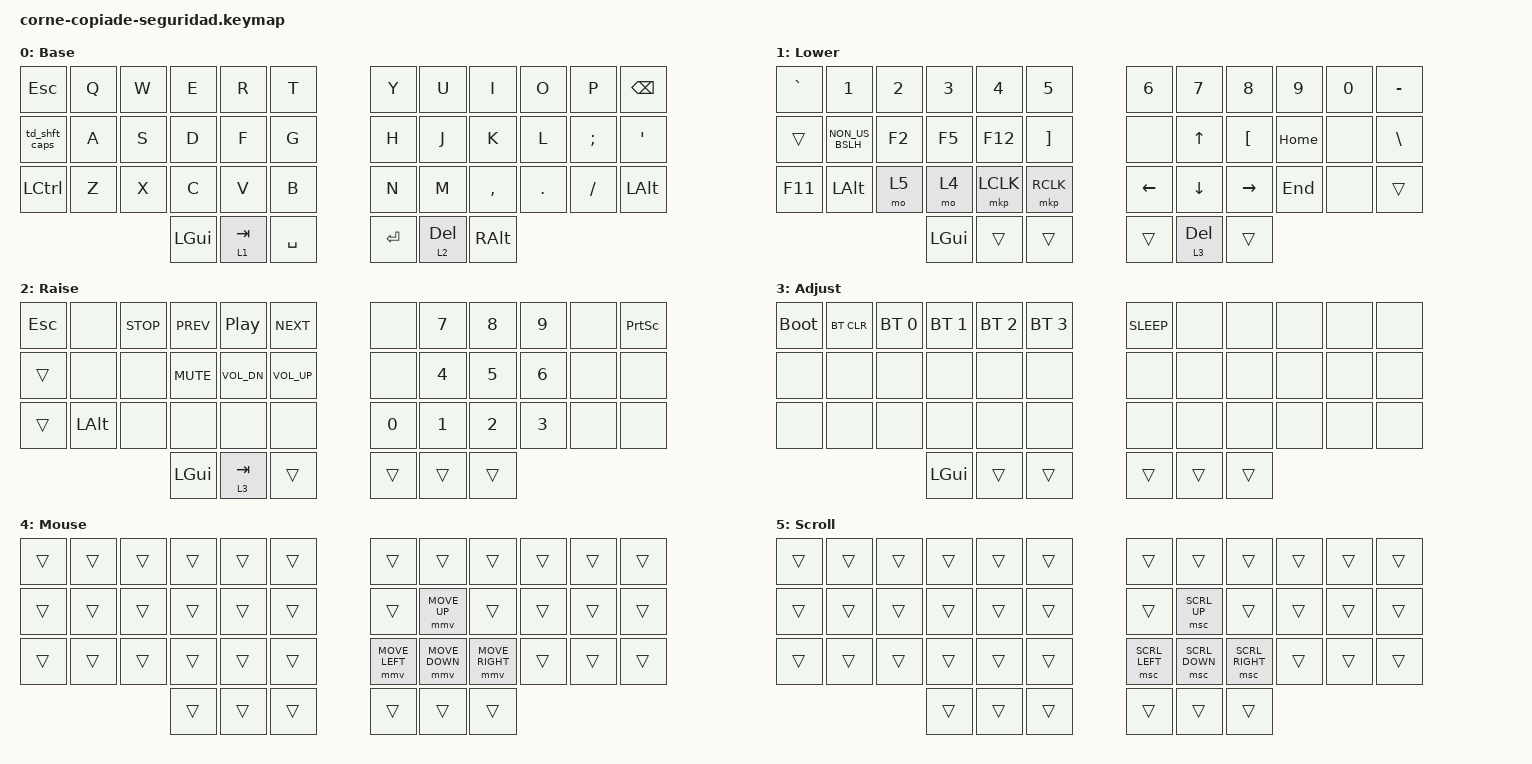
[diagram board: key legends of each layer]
/*
 * Copyright (c) 2020 The ZMK Contributors
 *
 * SPDX-License-Identifier: MIT
 */

#include <behaviors.dtsi>
#include <dt-bindings/zmk/keys.h>
#include <dt-bindings/zmk/bt.h>
#include <dt-bindings/zmk/pointing.h>

/ {
    behaviors {
        // Tap Dance: 1 toque = Shift Izq, 2 toques = Bloq Mayus
        td_shft_caps: tap_dance_shift_caps {
            compatible = "zmk,behavior-tap-dance";
            #binding-cells = <0>;
            tapping-term-ms = <200>;
            bindings = <&kp LSHFT>, <&kp CAPSLOCK>;
        };
        
        // Configuración de movimiento del Mouse (Aceleración)
        mmv {
            acceleration-exponent = <1>;
            time-to-max-speed-ms = <300>;
            delay-ms = <0>;
        };

        // Configuración de Scroll
        msc {
            acceleration-exponent = <0>;
            time-to-max-speed-ms = <0>;
            delay-ms = <0>;
        };
    };

    combos {
        compatible = "zmk,combos";
        
        // COMBO: ESC + E = Format Code (Shift + Alt + F)
        // Se presionan las dos teclas centrales de la fila superior (Índices).
        combo_vscode_format {
            timeout-ms = <50>;
            key-positions = <0 3>; // Posiciones de ESC y E en Corne (0 y 3)
            bindings = <&kp LS(LA(F))>;
        };
    };

    keymap {
        compatible = "zmk,keymap";

        default_layer {
            display-name = "Base";
// -----------------------------------------------------------------------------------------
// |  ESC |  Q  |  W  |  E  |  R  |  T  |   |  Y  |  U   |  I  |  O  |  P  | BSPC |
// | SHFT*|  A  |  S  |  D  |  F  |  G  |   |  H  |  J   |  K  |  L  |  ;  |  '   |
// | CTRL |  Z  |  X  |  C  |  V  |  B  |   |  N  |  M   |  ,  |  .  |  /  | ALT  |
//                    | GUI | LWR | SPC |   | ENT | RSE  | ALT |
            bindings = <
   &kp ESC       &kp Q &kp W &kp E &kp R &kp T   &kp Y &kp U  &kp I     &kp O   &kp P    &kp BSPC
   &td_shft_caps &kp A &kp S &kp D &kp F &kp G   &kp H &kp J  &kp K     &kp L   &kp SEMI &kp SQT
   &kp LCTRL     &kp Z &kp X &kp C &kp V &kp B   &kp N &kp M  &kp COMMA &kp DOT &kp FSLH &kp LALT
                 &kp LGUI &lt 1 TAB &kp SPACE    &kp RET &lt 2 DEL &kp RALT
            >;
        };

        lower_layer {
            display-name = "Lower";
// -----------------------------------------------------------------------------------------
// |  `   |  1  |  2  |  3  |  4  |  5  |   |  6  |  7  |  8  |  9  |  0  |  -   |
// | TRNS | NUBS| F2  | F5  | F12 |  ]  |   | NONE|  UP  |  [  | HOME| NONE|  \   |
// | F11  | ALT | SCRL|MOUSE| LCLK| RCLK|   | LFT | DWN  | RGT | END | NONE| TRNS |
//                    | GUI | TRNS| TRNS|   | TRNS| ADJ  | TRNS|
            bindings = <
   &kp GRAVE  &kp N1      &kp N2 &kp N3 &kp N4 &kp N5      &kp N6   &kp N7   &kp N8    &kp N9    &kp N0 &kp MINUS
   &trans     &kp NON_US_BSLH &kp F2 &kp F5 &kp F12 &kp RBKT    &none    &kp UP   &kp LBKT  &kp HOME  &none  &kp BSLH
   &kp F11    &kp LALT    &mo 5  &mo 4  &mkp LCLK &mkp RCLK  &kp LEFT &kp DOWN &kp RIGHT &kp END   &none  &trans
                          &kp LGUI &trans &trans           &trans   &lt 3 DEL &trans
            >;
        };

        raise_layer {
            display-name = "Raise";
// -----------------------------------------------------------------------------------------
// | ESC  | NONE| STOP| PREV| PLAY| NEXT|   | NONE|  7  |  8  |  9  | NONE| PSCRN|
// | TRNS | NONE| NONE| MUTE| VDN | VUP |   | NONE|  4  |  5  |  6  | NONE| NONE |
// | TRNS | ALT | NONE| NONE| NONE| NONE|   |  0  |  1  |  2  |  3  | NONE| NONE |
//                    | GUI | ADJ | TRNS|   | TRNS| TRNS| TRNS|
            bindings = <
   &kp ESC &none    &kp C_STOP &kp C_PREV &kp C_PP     &kp C_NEXT      &none  &kp N7 &kp N8 &kp N9 &none &kp PSCRN
   &trans  &none    &none      &kp C_MUTE &kp C_VOL_DN &kp C_VOL_UP    &none  &kp N4 &kp N5 &kp N6 &none &none
   &trans  &kp LALT &none      &none      &none        &none           &kp N0 &kp N1 &kp N2 &kp N3 &none &none
                               &kp LGUI   &lt 3 TAB    &trans          &trans &trans &trans
            >;
        };

        adjust_layer {
            display-name = "Adjust";
// -----------------------------------------------------------------------------------------
// | BOOT | BTCLR| BT1 | BT2 | BT3 | BT4 |   |SLEEP| NONE| NONE| NONE| NONE| NONE |
// | NONE | NONE | NONE| NONE| NONE| NONE|   | NONE| NONE| NONE| NONE| NONE| NONE |
// | NONE | NONE | NONE| NONE| NONE| NONE|   | NONE| NONE| NONE| NONE| NONE| NONE |
//                     | GUI | TRNS| TRNS|   | TRNS| TRNS| TRNS|
            bindings = <
   &bootloader &bt BT_CLR &bt BT_SEL 0 &bt BT_SEL 1 &bt BT_SEL 2 &bt BT_SEL 3   &kp C_SLEEP &none &none &none &none &none
   &none       &none      &none        &none        &none        &none          &none       &none &none &none &none &none
   &none       &none      &none        &none        &none        &none          &none       &none &none &none &none &none
                          &kp LGUI     &trans       &trans                      &trans      &trans &trans
            >;
        };

        mouse_layer {
            display-name = "Mouse";
// -----------------------------------------------------------------------------------------
// |      |     |     |     |     |     |   |     |     |     |     |     |      |
// |      |     |     |     |     |     |   |     | M_UP|     |     |     |      |
// |      |     |     |     |     |     |   |M_LFT|M_DWN|M_RGT|     |     |      |
//                    |     |     |     |   |     |     |     |
            bindings = <
   &trans &trans &trans &trans &trans &trans    &trans &trans &trans &trans &trans &trans
   &trans &trans &trans &trans &trans &trans    &trans &mmv MOVE_UP &trans &trans &trans &trans
   &trans &trans &trans &trans &trans &trans    &mmv MOVE_LEFT &mmv MOVE_DOWN &mmv MOVE_RIGHT &trans &trans &trans
                        &trans &trans &trans    &trans &trans &trans
            >;
        };

        scroll_layer {
            display-name = "Scroll";
// -----------------------------------------------------------------------------------------
// |      |     |     |     |     |     |   |     |     |     |     |     |      |
// |      |     |     |     |     |     |   |     | S_UP|     |     |     |      |
// |      |     |     |     |     |     |   |S_LFT|S_DWN|S_RGT|     |     |      |
//                    |     |     |     |   |     |     |     |
            bindings = <
   &trans &trans &trans &trans &trans &trans    &trans &trans        &trans &trans &trans &trans
   &trans &trans &trans &trans &trans &trans    &trans &msc SCRL_UP  &trans &trans &trans &trans
   &trans &trans &trans &trans &trans &trans    &msc SCRL_LEFT &msc SCRL_DOWN &msc SCRL_RIGHT &trans &trans &trans
                        &trans &trans &trans    &trans &trans &trans
            >;
        };
    };
};

